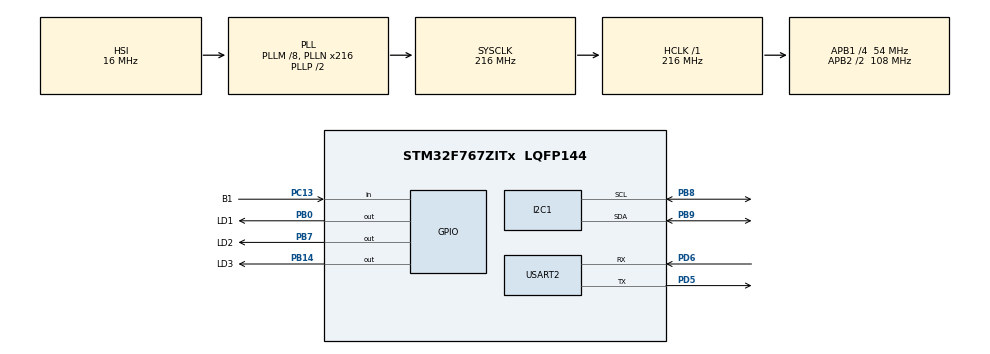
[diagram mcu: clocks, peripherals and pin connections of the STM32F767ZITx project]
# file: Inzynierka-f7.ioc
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I2C1.Timing=0x20404768
Mcu.Family=STM32F7
Mcu.Name=STM32F767ZITx
Mcu.Package=LQFP144
NVIC.PriorityGroup=NVIC_PRIORITYGROUP_4
NVIC.TIM1_UP_TIM10_IRQn=true\:10\:0\:true\:false\:true\:true\:true
NVIC.USART2_IRQn=true\:0\:0\:false\:false\:true\:true\:true
PA13.Mode=Serial_Wire
PA13.Signal=SYS_JTMS-SWDIO
PA14.Mode=Serial_Wire
PA14.Signal=SYS_JTCK-SWCLK
PB0.GPIO_Label=LD1
PB0.Signal=GPIO_Output
PB14.GPIO_Label=LD3
PB14.Signal=GPIO_Output
PB7.GPIO_Label=LD2
PB7.Signal=GPIO_Output
PB8.Mode=I2C
PB8.Signal=I2C1_SCL
PB9.Mode=I2C
PB9.Signal=I2C1_SDA
PC13.GPIO_Label=B1
PC13.Signal=GPIO_Input
PD5.Mode=Asynchronous
PD5.Signal=USART2_TX
PD6.Mode=Asynchronous
PD6.Signal=USART2_RX
PH0/OSC_IN.Mode=HSE-External-Oscillator
PH0/OSC_IN.Signal=RCC_OSC_IN
PH1/OSC_OUT.Mode=HSE-External-Oscillator
PH1/OSC_OUT.Signal=RCC_OSC_OUT
ProjectManager.HeapSize=0x200
ProjectManager.StackSize=0x400
ProjectManager.TargetToolchain=STM32CubeIDE
RCC.AHBFreq_Value=216000000
RCC.APB1CLKDivider=RCC_HCLK_DIV4
RCC.APB1Freq_Value=54000000
RCC.APB1TimFreq_Value=108000000
RCC.APB2CLKDivider=RCC_HCLK_DIV2
RCC.APB2Freq_Value=108000000
RCC.APB2TimFreq_Value=216000000
RCC.CortexFreq_Value=216000000
RCC.HCLKFreq_Value=216000000
RCC.HSE_VALUE=8000000
RCC.HSI_VALUE=16000000
RCC.LSE_VALUE=32768
RCC.PLLM=8
RCC.PLLN=216
RCC.SYSCLKFreq_VALUE=216000000
RCC.SYSCLKSource=RCC_SYSCLKSOURCE_PLLCLK
RCC.USBFreq_Value=216000000
RCC.VCOOutputFreq_Value=432000000
TIM10.Period=999
TIM10.Prescaler=10799
USART2.VirtualMode-Asynchronous=VM_ASYNC
VP_TIM10_VS_ClockSourceINT.Mode=Enable_Timer
board=custom

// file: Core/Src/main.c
/* USER CODE BEGIN Header */
/**
  ******************************************************************************
  * @file           : main.c
  * @brief          : Main program body
  ******************************************************************************
  * @attention
  *
  * <h2><center>&copy; Copyright (c) 2021 STMicroelectronics.
  * All rights reserved.</center></h2>
  *
  * This software component is licensed by ST under BSD 3-Clause license,
  * the "License"; You may not use this file except in compliance with the
  * License. You may obtain a copy of the License at:
  *                        opensource.org/licenses/BSD-3-Clause
  *
  ******************************************************************************
  */
/* USER CODE END Header */
#include "main.h"

/* USER CODE BEGIN Includes */
#include <string.h>
#include "UART.h"
#include "LSM6DS33.h"
#include "LIS3MDL.h"
#include "LPS25H.h"
#include <stdio.h>
#include <math.h>
#include "matrix.h"
#include "Kalman_Filter.h"
#include "AlphaBeta.h"
//#include "alphabetagamma.h"
/* USER CODE END Includes */

/* USER CODE BEGIN PTD */
extern LSM_axis accel;
extern LSM_axis gyro;

extern kalman_axis gz;
extern kalman_axis gx;
extern kalman_axis gy;

extern LPS25H alititude;

extern sensor LIS3MDL;
//extern filter kalman;
/* USER CODE END PTD */

/* USER CODE BEGIN PD */
#define rozmiar_int16_t					32768
#define przyspieszenie_graw				9.80665
#define maximum_data_size				200
/* USER CODE END PD */

I2C_HandleTypeDef hi2c1;

TIM_HandleTypeDef htim10;

UART_HandleTypeDef huart2;

/* USER CODE BEGIN PV */
// acceleration
float az = 0, ax = 0, ay = 0;
//speed
float vz = 0, vx = 0, vy = 0;
//position
float xz = 0, xx = 0, xy = 0;
//angular_speed
float Gyro_Roll = 0, Gyro_Pitch = 0, Gyro_Yaw = 0;
// Roll, Pitch ,Yaw
float Roll = 0, Pitch = 0, Yaw = 0;
// Roll, Pitch, Yaw for Alpha, Beta filter
float AB_Roll = 0, AB_Pitch = 0, AB_Yaw = 0;
// time change
float dt = 0.1;
// absolute height
float AbsoluteHeight = 0;
// temperature
float Temperature = 0;
// Magnemetometer direction
float MdirectionX = 0;
float MdirectionY = 0;
float MdirectionZ = 0;

//data storage
volatile uint8_t data = 0;
float AccelerometerData[3][maximum_data_size];//X, Y, Z.
float GyroscopeData[3][maximum_data_size]; //Roll, Pitch, Yaw
float AltitudeMetersData[maximum_data_size];
float TemperatureData[maximum_data_size];
float MDirectionData[3][maximum_data_size];// X, Y, Z.

//Button
volatile uint8_t Button = 0;
/* USER CODE END PV */

void SystemClock_Config(void);
static void MX_GPIO_Init(void);
static void MX_I2C1_Init(void);
static void MX_TIM10_Init(void);
static void MX_USART2_UART_Init(void);

/* USER CODE BEGIN 0 */
void HAL_TIM_PeriodElapsedCallback(TIM_HandleTypeDef *htim)
{
	if(htim == &htim10)
	{
		  lsm6ds33_readGyro();
		  lsm6ds33_readAccel();
		  //HAL_GPIO_TogglePin(LD2_GPIO_Port, LD2_Pin);
	}

}
void WHO_AM_I(void);
/* USER CODE END 0 */

int main(void)
{

  /* MCU Configuration--------------------------------------------------------*/

  /* Reset of all peripherals, Initializes the Flash interface and the Systick. */
  HAL_Init();

  /* Configure the system clock */
  SystemClock_Config();

  /* Initialize all configured peripherals */
  MX_GPIO_Init();
  MX_I2C1_Init();
  MX_TIM10_Init();
  MX_USART2_UART_Init();
  /* USER CODE BEGIN 2 */

  lsm6ds33_Init();
  lps25h_Init();
  lis3mdl_Init();

  HAL_TIM_Base_Start_IT(&htim10);

  /* USER CODE END 2 */

  /* Infinite loop */
  /* USER CODE BEGIN WHILE */

	 filter_init();
	 set_filter(1.5, 2);
	 AlphaBeta_init();
	 //abg_filter_Init();
	 //set_filter_abg(0.85, 0.05, 0.1);
	 WHO_AM_I();

  while (1)
  {
    /* USER CODE END WHILE */

    /* USER CODE BEGIN 3 */

	 if((HAL_GPIO_ReadPin(B1_GPIO_Port, B1_Pin) == 1 || data > 0) && !Button)
	 {
	  //*******************Gyro****************************//
	  gyro_Roll();
	  gyro_Pitch();

	  //For measure angle - Alpa-beta and no filter
	  //******************************************
	  //Gyro_Roll = (float)(gyro.x * 245) / rozmiar_int16_t;
	  //Roll = Roll + dt * Gyro_Roll;
	  Gyro_Yaw = (float)(gyro.z * 245) / rozmiar_int16_t;
	  Yaw = Yaw + dt * Gyro_Yaw;
	  //Gyro_Pitch = (float)(gyro.y * 245) / rozmiar_int16_t;
	  //Pitch = Pitch + dt * Gyro_Pitch;

	  //AB_Roll = AlphaBeta_gyro_X(Roll, 0.35, 0.1);
	  //AB_Pitch = AlphaBeta_gyro_Y(Pitch, 0.35, 0.1);
	  AB_Yaw = AlphaBeta_gyro_Z(Yaw, 0.35, 0.1);

	  //To save data
	  GyroscopeData[0][data] = gx.x_post[0];
	  GyroscopeData[1][data] = gy.x_post[0];
	  GyroscopeData[2][data] = AB_Yaw;
	  //printf("KALMAN:%0.04f, %0.04f, %0.04f\n",gx.x_post[0],gy.x_post[0], AB_Yaw);
      //printf("Brak filtra:%0.04f, %0.04f, %0.04f \n",AngleZ, AngleX, AngleY);
      //printf("AB         :%0.04f, %0.04f, %0.04f \n",value3, value1, value2);
	  //******************************************
	  //*******************Accelerometer****************************//

	  ax = (accel.x * 2 * przyspieszenie_graw)/rozmiar_int16_t;
	  ay = (accel.y * 2 * przyspieszenie_graw)/rozmiar_int16_t;
	  az = (accel.z * 2 * przyspieszenie_graw)/rozmiar_int16_t - przyspieszenie_graw;

	  //Position for x axis
	  xx = xx + vx * dt + ax * dt * dt / 2;
	  //Speed V fo x asis
	  vx = vx + ax * dt;

	  //Position for y axis
	  xy = xy + vy * dt + ay * dt * dt / 2;
	  //Speed V fo y asis
	  vy = vy + ay * dt;

	  //Assumption axis z is parallel to g
	  //Position for z axis
	  xz = xz + vz * dt + az * dt * dt / 2;
	  //Speed V fo z asis
	  vz = vz + az * dt;

	  //To save data
	  AccelerometerData[0][data] = xx;
	  AccelerometerData[1][data] = xy;
	  AccelerometerData[2][data] = xz;
	  //printf("Position, X, Y, Z: %0.04f, %0.04f, %0.04f\n",xx, xy, xz);
	  //*************************************************************//
	  //************************Barometer****************************//
	  lps25h_pressureToAlitudeMeters();
	  AbsoluteHeight = alititude.altitude_meters;
	  Temperature = alititude.temperature_C;

	  //To save data
	  AltitudeMetersData[data] = AbsoluteHeight;
	  TemperatureData[data] = Temperature;
	  //printf("Barometer: %0.04f, %0.04f\n",AbsoluteHeight, Temperature);
	  //*************************************************************//
	  //*******************Magnetometer******************************//
	  lis3mdl_readDirection();
	  MdirectionX = (float)(LIS3MDL.x * 4 * przyspieszenie_graw)/rozmiar_int16_t;
	  MdirectionY = (float)(LIS3MDL.y * 4 * przyspieszenie_graw)/rozmiar_int16_t;
	  MdirectionZ = (float)(LIS3MDL.z * 4 * przyspieszenie_graw)/rozmiar_int16_t;

	  //To save data
	  MDirectionData[0][data] = MdirectionX;
	  MDirectionData[1][data] = MdirectionY;
	  MDirectionData[2][data] = MdirectionZ;
	  //*************************************************************//
	  //printf("Magnetometer Position, X, Y, Z: %0.04f, %0.04f, %0.04f\n",MdirectionX, MdirectionY, MdirectionZ);
      //printf("%0.04f, %0.04f, %0.04f\n",calculate_X_accel(ax), calculate_X_accel(ay), calculate_X_accel(az));

	  data ++;
	  HAL_Delay(100);
	  if(data == 200)
		  Button = 1;
	 }
	 if(Button == 1 && HAL_GPIO_ReadPin(B1_GPIO_Port, B1_Pin) == 1)
	 {
		 for(int i = 0; i < maximum_data_size; i++)
		 {
			 printf("GyroscopeData: %0.04f, %0.04f, %0.04f \n", GyroscopeData[0][i],GyroscopeData[1][i],GyroscopeData[2][i]);
		 }
		 for(int i = 0; i < maximum_data_size; i++)
		 {
			 printf("AccelerometerData: %0.04f, %0.04f, %0.04f \n", AccelerometerData[0][i],AccelerometerData[1][i],AccelerometerData[2][i]);
		 }
		 for(int i = 0; i < maximum_data_size; i++)
		 {
			 printf("AltitudeMetersData: %0.04f \n", AltitudeMetersData[i]);
		 }
		 for(int i = 0; i < maximum_data_size; i++)
		 {
			 printf("TemperatureData: %0.04f \n", TemperatureData[i]);
		 }
		 for(int i = 0; i < maximum_data_size; i++)
		 {
			 printf("MDirectionData: %0.04f, %0.04f, %0.04f \n", MDirectionData[0][i],MDirectionData[1][i],MDirectionData[2][i]);
		 }
		 Button = 0;
		 data = 0;
	 }
  }
  /* USER CODE END 3 */
}

void SystemClock_Config(void)
{
  RCC_OscInitTypeDef RCC_OscInitStruct = {0};
  RCC_ClkInitTypeDef RCC_ClkInitStruct = {0};
  RCC_PeriphCLKInitTypeDef PeriphClkInitStruct = {0};

  /** Configure the main internal regulator output voltage
  */
  __HAL_RCC_PWR_CLK_ENABLE();
  __HAL_PWR_VOLTAGESCALING_CONFIG(PWR_REGULATOR_VOLTAGE_SCALE1);
  /** Initializes the RCC Oscillators according to the specified parameters
  * in the RCC_OscInitTypeDef structure.
  */
  RCC_OscInitStruct.OscillatorType = RCC_OSCILLATORTYPE_HSI;
  RCC_OscInitStruct.HSIState = RCC_HSI_ON;
  RCC_OscInitStruct.HSICalibrationValue = RCC_HSICALIBRATION_DEFAULT;
  RCC_OscInitStruct.PLL.PLLState = RCC_PLL_ON;
  RCC_OscInitStruct.PLL.PLLSource = RCC_PLLSOURCE_HSI;
  RCC_OscInitStruct.PLL.PLLM = 8;
  RCC_OscInitStruct.PLL.PLLN = 216;
  RCC_OscInitStruct.PLL.PLLP = RCC_PLLP_DIV2;
  RCC_OscInitStruct.PLL.PLLQ = 2;
  RCC_OscInitStruct.PLL.PLLR = 2;
  if (HAL_RCC_OscConfig(&RCC_OscInitStruct) != HAL_OK)
  {
    Error_Handler();
  }
  /** Activate the Over-Drive mode
  */
  if (HAL_PWREx_EnableOverDrive() != HAL_OK)
  {
    Error_Handler();
  }
  /** Initializes the CPU, AHB and APB buses clocks
  */
  RCC_ClkInitStruct.ClockType = RCC_CLOCKTYPE_HCLK|RCC_CLOCKTYPE_SYSCLK
                              |RCC_CLOCKTYPE_PCLK1|RCC_CLOCKTYPE_PCLK2;
  RCC_ClkInitStruct.SYSCLKSource = RCC_SYSCLKSOURCE_PLLCLK;
  RCC_ClkInitStruct.AHBCLKDivider = RCC_SYSCLK_DIV1;
  RCC_ClkInitStruct.APB1CLKDivider = RCC_HCLK_DIV4;
  RCC_ClkInitStruct.APB2CLKDivider = RCC_HCLK_DIV2;

  if (HAL_RCC_ClockConfig(&RCC_ClkInitStruct, FLASH_LATENCY_7) != HAL_OK)
  {
    Error_Handler();
  }
  PeriphClkInitStruct.PeriphClockSelection = RCC_PERIPHCLK_USART2|RCC_PERIPHCLK_I2C1;
  PeriphClkInitStruct.Usart2ClockSelection = RCC_USART2CLKSOURCE_PCLK1;
  PeriphClkInitStruct.I2c1ClockSelection = RCC_I2C1CLKSOURCE_PCLK1;
  if (HAL_RCCEx_PeriphCLKConfig(&PeriphClkInitStruct) != HAL_OK)
  {
    Error_Handler();
  }
}

static void MX_I2C1_Init(void)
{

  hi2c1.Instance = I2C1;
  hi2c1.Init.Timing = 0x20404768;
  hi2c1.Init.OwnAddress1 = 0;
  hi2c1.Init.AddressingMode = I2C_ADDRESSINGMODE_7BIT;
  hi2c1.Init.DualAddressMode = I2C_DUALADDRESS_DISABLE;
  hi2c1.Init.OwnAddress2 = 0;
  hi2c1.Init.OwnAddress2Masks = I2C_OA2_NOMASK;
  hi2c1.Init.GeneralCallMode = I2C_GENERALCALL_DISABLE;
  hi2c1.Init.NoStretchMode = I2C_NOSTRETCH_DISABLE;
  if (HAL_I2C_Init(&hi2c1) != HAL_OK)
  {
    Error_Handler();
  }
  /** Configure Analogue filter
  */
  if (HAL_I2CEx_ConfigAnalogFilter(&hi2c1, I2C_ANALOGFILTER_ENABLE) != HAL_OK)
  {
    Error_Handler();
  }
  /** Configure Digital filter
  */
  if (HAL_I2CEx_ConfigDigitalFilter(&hi2c1, 0) != HAL_OK)
  {
    Error_Handler();
  }

}

static void MX_TIM10_Init(void)
{

  htim10.Instance = TIM10;
  htim10.Init.Prescaler = 10799;
  htim10.Init.CounterMode = TIM_COUNTERMODE_UP;
  htim10.Init.Period = 999;
  htim10.Init.ClockDivision = TIM_CLOCKDIVISION_DIV1;
  htim10.Init.AutoReloadPreload = TIM_AUTORELOAD_PRELOAD_DISABLE;
  if (HAL_TIM_Base_Init(&htim10) != HAL_OK)
  {
    Error_Handler();
  }

}

static void MX_USART2_UART_Init(void)
{

  huart2.Instance = USART2;
  huart2.Init.BaudRate = 115200;
  huart2.Init.WordLength = UART_WORDLENGTH_8B;
  huart2.Init.StopBits = UART_STOPBITS_1;
  huart2.Init.Parity = UART_PARITY_NONE;
  huart2.Init.Mode = UART_MODE_TX_RX;
  huart2.Init.HwFlowCtl = UART_HWCONTROL_NONE;
  huart2.Init.OverSampling = UART_OVERSAMPLING_16;
  huart2.Init.OneBitSampling = UART_ONE_BIT_SAMPLE_DISABLE;
  huart2.AdvancedInit.AdvFeatureInit = UART_ADVFEATURE_NO_INIT;
  if (HAL_UART_Init(&huart2) != HAL_OK)
  {
    Error_Handler();
  }

}

static void MX_GPIO_Init(void)
{
  GPIO_InitTypeDef GPIO_InitStruct = {0};

  /* GPIO Ports Clock Enable */
  __HAL_RCC_GPIOC_CLK_ENABLE();
  __HAL_RCC_GPIOH_CLK_ENABLE();
  __HAL_RCC_GPIOB_CLK_ENABLE();
  __HAL_RCC_GPIOA_CLK_ENABLE();
  __HAL_RCC_GPIOD_CLK_ENABLE();

  /*Configure GPIO pin Output Level */
  HAL_GPIO_WritePin(GPIOB, LD1_Pin|LD3_Pin|LD2_Pin, GPIO_PIN_RESET);

  /*Configure GPIO pin : B1_Pin */
  GPIO_InitStruct.Pin = B1_Pin;
  GPIO_InitStruct.Mode = GPIO_MODE_INPUT;
  GPIO_InitStruct.Pull = GPIO_NOPULL;
  HAL_GPIO_Init(B1_GPIO_Port, &GPIO_InitStruct);

  /*Configure GPIO pins : LD1_Pin LD3_Pin LD2_Pin */
  GPIO_InitStruct.Pin = LD1_Pin|LD3_Pin|LD2_Pin;
  GPIO_InitStruct.Mode = GPIO_MODE_OUTPUT_PP;
  GPIO_InitStruct.Pull = GPIO_NOPULL;
  GPIO_InitStruct.Speed = GPIO_SPEED_FREQ_LOW;
  HAL_GPIO_Init(GPIOB, &GPIO_InitStruct);

}

/* USER CODE BEGIN 4 */

void WHO_AM_I(void)
{
    printf("Searching for accelerometer...\n");
  	uint8_t who_am_i = lsm6ds33_read_reg(LSM6DS33_WHO_AM_I);

  	 if (who_am_i == 0x69) {
  		 printf("Found: LSM6DS33\n");
  	 } else {
  		 printf("Error: (0x%02X)\n", who_am_i);
  	 }
  	 printf("Searching for barometer...\n");
  	 who_am_i = lps25h_read_reg(LPS25H_WHO_AM_I);

  	 if (who_am_i == 0xBD) {
  	  printf("Found: LPS25HB\n");
  	 } else {
  	  printf("Error: (0x%02X)\n", who_am_i);
  	 }
  	printf("Searching for magnetometer...\n");
  	who_am_i = lis3mdl_read_reg(LIS3MDL_WHO_AM_I);

  	 if (who_am_i == 0x3D) {
  	  printf("Found: LIS3MDL\n");
  	 } else {
  	  printf("Error: (0x%02X)\n", who_am_i);
  	 }

}
/* USER CODE END 4 */

void Error_Handler(void)
{
  __disable_irq();
  while (1)
  {
  }
}

/************************ (C) COPYRIGHT STMicroelectronics *****END OF FILE****/
